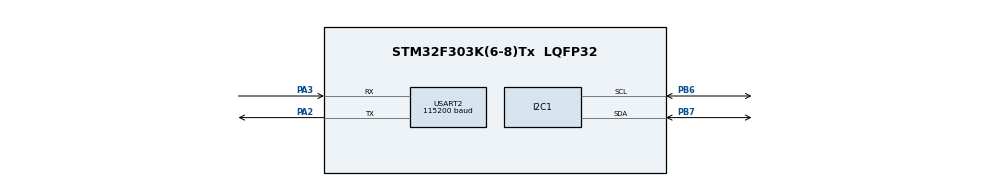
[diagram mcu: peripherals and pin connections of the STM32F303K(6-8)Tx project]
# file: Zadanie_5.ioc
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Dma.Request0=USART2_TX
Dma.USART2_TX.0.Direction=DMA_MEMORY_TO_PERIPH
Dma.USART2_TX.0.Instance=DMA1_Channel7
Dma.USART2_TX.0.MemDataAlignment=DMA_MDATAALIGN_BYTE
Dma.USART2_TX.0.MemInc=DMA_MINC_ENABLE
Dma.USART2_TX.0.Mode=DMA_NORMAL
Dma.USART2_TX.0.PeriphDataAlignment=DMA_PDATAALIGN_BYTE
Dma.USART2_TX.0.PeriphInc=DMA_PINC_DISABLE
Dma.USART2_TX.0.Priority=DMA_PRIORITY_LOW
I2C1.I2C_Fall_Time=0
I2C1.I2C_Rise_Time=0
Mcu.Family=STM32F3
Mcu.Name=STM32F303K(6-8)Tx
Mcu.Package=LQFP32
NVIC.DMA1_Channel7_IRQn=true\:0\:0\:false\:false\:true\:false\:true\:true
NVIC.I2C1_EV_IRQn=true\:0\:0\:false\:false\:true\:true\:true\:true
NVIC.PriorityGroup=NVIC_PRIORITYGROUP_4
NVIC.USART2_IRQn=true\:0\:0\:false\:false\:true\:true\:true\:true
PA2.Mode=Asynchronous
PA2.Signal=USART2_TX
PA3.Mode=Asynchronous
PA3.Signal=USART2_RX
PB6.Mode=I2C
PB6.Signal=I2C1_SCL
PB7.Mode=I2C
PB7.Signal=I2C1_SDA
ProjectManager.HeapSize=0x200
ProjectManager.StackSize=0x400
ProjectManager.TargetToolchain=STM32CubeIDE
RCC.AHBFreq_Value=8000000
RCC.APB1Freq_Value=8000000
RCC.APB2Freq_Value=8000000
RCC.CortexFreq_Value=8000000
RCC.HSE_VALUE=8000000
RCC.HSI_VALUE=8000000
RCC.SYSCLKFreq_VALUE=8000000
USART2.BaudRate=115200
USART2.VirtualMode-Asynchronous=VM_ASYNC
board=custom

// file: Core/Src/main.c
/* USER CODE BEGIN Header */
/**
  ******************************************************************************
  * @file           : main.c
  * @brief          : Main program body
  ******************************************************************************
  * @attention
  *
  * Copyright (c) 2024 STMicroelectronics.
  * All rights reserved.
  *
  * This software is licensed under terms that can be found in the LICENSE file
  * in the root directory of this software component.
  * If no LICENSE file comes with this software, it is provided AS-IS.
  *
  ******************************************************************************
  */
/* USER CODE END Header */
#include "main.h"
#include "dma.h"
#include "i2c.h"
#include "usart.h"
#include "gpio.h"
#include "lps25hb.h"
#include "hts221.h"

char msg[100];
float val_teplota;
float val_vlhkost;
float val_tlak;
float val_poloha;

void SystemClock_Config(void);

/* USER CODE BEGIN PFP */
float vyska(float tlak_1, float tlak_2){
	 const float R = 8.31432;        // Univerzálna plynová konštanta v J/(mol·K)
	 const float L = 0.0065;         // Teplotný gradient v K/m
	 const float g = 9.80665;        // Gravitačné zrýchlenie v m/s^2
	 const float M = 0.0289644;      // Molárna hmotnosť suchého vzduchu v kg/mol
	 const float koef = (R * L) / (g * M);
	 return (44330.0f * (1.0f - pow(tlak_2 / tlak_1, koef)));
}
/* USER CODE END PFP */

int main(void)
{

  /* MCU Configuration--------------------------------------------------------*/

  /* Reset of all peripherals, Initializes the Flash interface and the Systick. */
  LL_APB2_GRP1_EnableClock(LL_APB2_GRP1_PERIPH_SYSCFG);
  LL_APB1_GRP1_EnableClock(LL_APB1_GRP1_PERIPH_PWR);

  /* System interrupt init*/
  NVIC_SetPriorityGrouping(NVIC_PRIORITYGROUP_4);

  /* SysTick_IRQn interrupt configuration */
  NVIC_SetPriority(SysTick_IRQn, NVIC_EncodePriority(NVIC_GetPriorityGrouping(),15, 0));

  /* Configure the system clock */
  SystemClock_Config();

  /* Initialize all configured peripherals */
  MX_GPIO_Init();
  MX_DMA_Init();
  MX_I2C1_Init();
  MX_USART2_UART_Init();
  /* USER CODE BEGIN 2 */
  hts221_init();
  lps25hb_init();
  /* USER CODE END 2 */

  /* Infinite loop */
  /* USER CODE BEGIN WHILE */
  LL_mDelay(10);
  lps25hb_tlak(&val_poloha);
  while (1)
  {
	  //snprintf(msg, sizeof(msg), "HTS221 not detected! Read WHO_AM_Ihmmm \r\n");
	  //USART2_PutBuffer((uint8_t *)msg, strlen(msg));
	  //zistenie potrebnych premennych
	  uint8_t buffer[120];

	  lps25hb_tlak(&val_tlak);
	  hts221_vlhkost(&val_vlhkost);
	  hts221_teplota(&val_teplota);
	  float zdvih = vyska(val_poloha, val_tlak);

	  uint8_t length = snprintf((char*)buffer, sizeof(buffer),"Teplota %2.1f, Vlhkost %2.0f, Tlak %4.2f, Vyska %3.2f\r\n", val_teplota, val_vlhkost, val_tlak, vyska); // @suppress("Float formatting support")
	  USART2_PutBuffer(buffer, length);
	  LL_mDelay(1000);
	/* USER CODE END WHILE */

  }
}

void SystemClock_Config(void)
{
  LL_FLASH_SetLatency(LL_FLASH_LATENCY_0);
  while(LL_FLASH_GetLatency()!= LL_FLASH_LATENCY_0)
  {
  }
  LL_RCC_HSI_Enable();

   /* Wait till HSI is ready */
  while(LL_RCC_HSI_IsReady() != 1)
  {

  }
  LL_RCC_HSI_SetCalibTrimming(16);
  LL_RCC_SetAHBPrescaler(LL_RCC_SYSCLK_DIV_1);
  LL_RCC_SetAPB1Prescaler(LL_RCC_APB1_DIV_1);
  LL_RCC_SetAPB2Prescaler(LL_RCC_APB2_DIV_1);
  LL_RCC_SetSysClkSource(LL_RCC_SYS_CLKSOURCE_HSI);

   /* Wait till System clock is ready */
  while(LL_RCC_GetSysClkSource() != LL_RCC_SYS_CLKSOURCE_STATUS_HSI)
  {

  }
  LL_Init1msTick(8000000);
  LL_SetSystemCoreClock(8000000);
  LL_RCC_SetI2CClockSource(LL_RCC_I2C1_CLKSOURCE_HSI);
}

void Error_Handler(void)
{
  __disable_irq();
  while (1)
  {
  }
}
